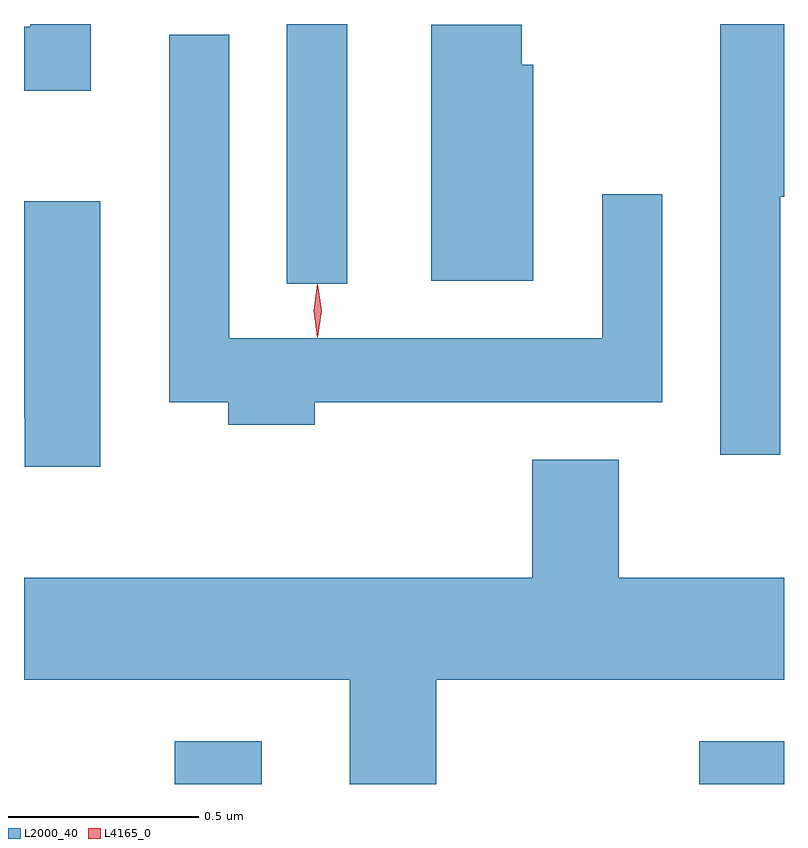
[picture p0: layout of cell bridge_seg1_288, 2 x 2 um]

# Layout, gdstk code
import gdstk
lib = gdstk.Library(unit=1e-6, precision=1e-09)
def R(c, l, rs):  # rectangles x0, y0, x1, y1
    for r in rs: c.add(gdstk.rectangle(r[:2], r[2:], *l))
def P(c, l, *ps):  # polygons
    for p in ps: c.add(gdstk.Polygon(p, *l))
L2000_40 = (2000, 40)
L4165_0 = (4165, 0)

bridge_seg1_288 = lib.new_cell('bridge_seg1_288')
R(bridge_seg1_288, L2000_40, [(844.321,894.861,844.549,894.974), (845.701,894.861,845.924,894.974), (844.616,896.178,844.774,896.861)])
P(bridge_seg1_288, L2000_40, [(845.914,896.406),(845.924,896.406),(845.924,896.861),(845.756,896.861),(845.756,895.728),(845.914,895.728)],
  [(844.099,896.861),(843.941,896.861),(843.941,896.854),(843.924,896.854),(843.924,896.686),(844.099,896.686)],
  [(845.264,896.754),(845.234,896.754),(845.234,896.859),(844.996,896.859),(844.996,896.186),(845.264,896.186)],
  [(844.689,895.866),(845.604,895.866),(845.604,896.413),(845.446,896.413),(845.446,896.034),(844.464,896.034),(844.464,896.833),(844.306,896.833),(844.306,895.866),(844.461,895.866),(844.461,895.806),(844.689,895.806)],
  [(844.124,896.394),(843.924,896.394),(843.924,895.826),(843.926,895.826),(843.926,895.696),(844.124,895.696)],
  [(845.009,895.136),(845.924,895.136),(845.924,895.404),(845.489,895.404),(845.489,895.714),(845.261,895.714),(845.261,895.404),(843.924,895.404),(843.924,895.136),(844.781,895.136),(844.781,894.861),(845.009,894.861)])
P(bridge_seg1_288, L4165_0, [(844.696,896.037),(844.687,896.107),(844.696,896.176),(844.697,896.176),(844.697,896.176),(844.707,896.107),(844.697,896.037),(844.697,896.037)],
  [(844.697,896.039),(844.696,896.04),(844.687,896.106),(844.696,896.172),(844.697,896.173),(844.697,896.172),(844.707,896.106),(844.697,896.04)])

lib.write_gds('bridge_seg1_288.gds')
